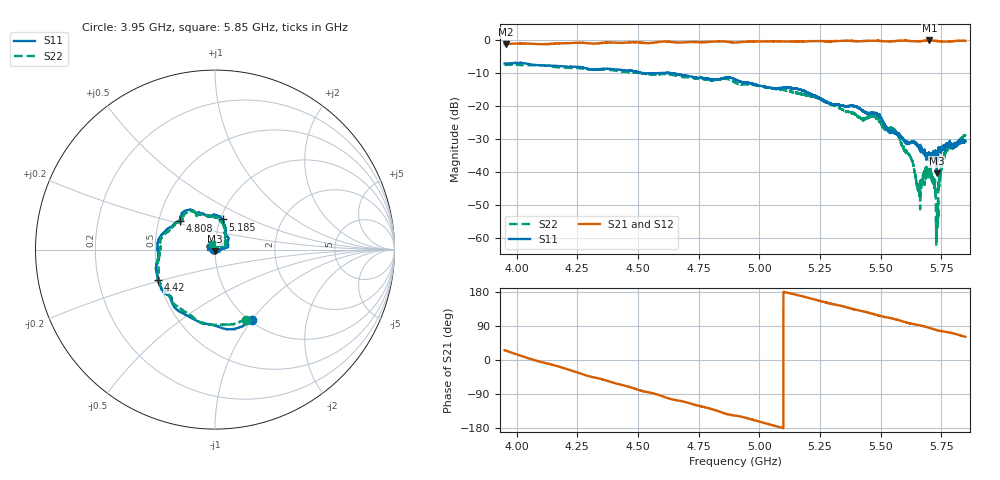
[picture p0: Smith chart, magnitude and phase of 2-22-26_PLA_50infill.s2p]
# GHZ S RI R 50.000000000000
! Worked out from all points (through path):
!   4501 points, 3.95 GHz to 5.85 GHz, reference 50 ohm
!   highest |S21| = -0.01 dB at 5.702 GHz (marker M1); lowest = -1.2 dB at 3.954 GHz (marker M2)
!   lowest |S11| = -40.4 dB at 5.732 GHz (marker M3), VSWR 1.02, Z = 50.2 - j0.941 ohm
!   |S11| at or under -10 dB: 4.542092 GHz to 4.548148 GHz (6.056 MHz wide, 0.133 % of centre); 4.554473 GHz to 4.557102 GHz (2.629 MHz wide, 0.0577 % of centre); 4.64 GHz to end of sweep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
!   |S22| runs from -62.6 to -7.3 dB; largest |S21 - S12| = 0.048
!   S11 on the Smith chart (normalised r, x): 3.95 GHz: 1.02, -1.01; 4.42 GHz: 0.49, -0.19; 4.808 GHz: 0.64, +0.22; 5.185 GHz: 1.03, +0.36; 5.85 GHz: 0.95, +0.03
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3.95  0.208 -0.3944  0.7917 0.3801  0.781 0.3794  0.1701 -0.3897
3.9538  0.1975 -0.3969  0.7936 0.3695  0.7819 0.3726  0.1598 -0.3919
4.056822  0.025 -0.4328  0.8897 0.0387  0.8983 0.0551  0.00596 -0.4189
4.267089  -0.2263 -0.3199  0.7414 -0.5462  0.7578 -0.5391  -0.2381 -0.2923
4.419511  -0.3171 -0.1691  0.4099 -0.8271  0.4277 -0.8143  -0.3153 -0.1303
4.583756  -0.3181 -0.00486  -0.0297 -0.9454  -0.00687 -0.9366  -0.3055 0.0199
4.807956  -0.1963 0.1592  -0.6216 -0.729  -0.6025 -0.7417  -0.187 0.1633
4.9  -0.1292 0.2215  -0.7758 -0.5131  -0.775 -0.5182  -0.1081 0.2031
5.185  0.0441 0.1679  -0.944 0.2228  -0.9414 0.2047  0.0477 0.1437
5.217089  0.0497 0.1412  -0.9246 0.3078  -0.9282 0.2872  0.0498 0.132
5.482244  0.0722 0.0293  -0.4831 0.8609  -0.5097 0.8503  0.0597 0.0343
5.533756  0.0397 0.00863  -0.3517 0.8983  -0.3701 0.8956  0.0331 0.0299
5.5612  0.0397 0.00771  -0.2971 0.9334  -0.319 0.9206  0.0342 0.0248
5.622  0.028 0.000348  -0.1123 0.9739  -0.1481 0.9675  0.0111 0.0131
5.655778  0.0227 -0.0101  -0.0389 0.9706  -0.0689 0.9697  0.0014 0.00525
5.7018  0.0103 -0.0105  0.0956 0.9945  0.066 0.9906  0.00388 0.00836
5.718689  0.00604 -0.0151  0.1489 0.98  0.1249 0.9799  0.00318 0.00582
5.7322  0.00173 -0.00938  0.1885 0.9634  0.1702 0.9603  -0.00128 0.000634
5.737689  0.00513 -0.0172  0.2024 0.9531  0.1762 0.957  -0.00173 0.000781
5.7474  -0.0116 -0.0188  0.2243 0.9433  0.1974 0.9401  -0.00443 0.00679
5.765556  -0.023 -0.00727  0.2555 0.9267  0.2272 0.9233  -0.00746 0.0175
5.85  -0.0252 0.015  0.473 0.8614  0.453 0.8757  -0.0164 0.0327
